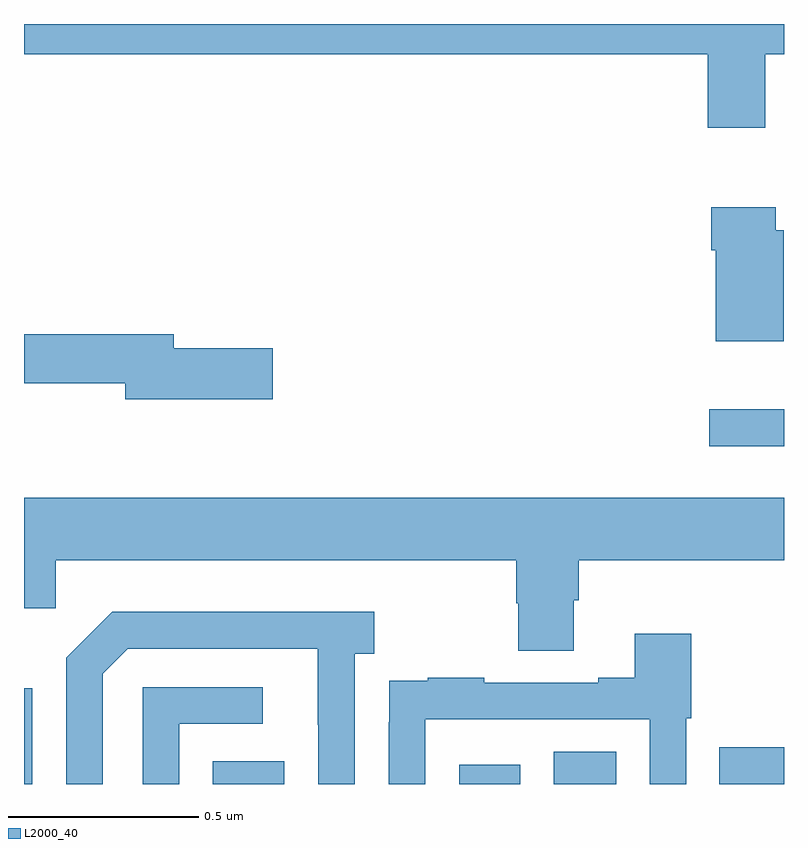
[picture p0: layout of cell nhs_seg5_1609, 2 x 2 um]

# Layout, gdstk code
import gdstk
lib = gdstk.Library(unit=1e-6, precision=1e-09)
def R(c, l, rs):  # rectangles x0, y0, x1, y1
    for r in rs: c.add(gdstk.rectangle(r[:2], r[2:], *l))
def P(c, l, *ps):  # polygons
    for p in ps: c.add(gdstk.Polygon(p, *l))
L2000_40 = (2000, 40)

nhs_seg5_1609 = lib.new_cell('nhs_seg5_1609')
R(nhs_seg5_1609, L2000_40, [(132,894.799,132.022,895.051), (132.497,894.799,132.685,894.859), (133.145,894.799,133.306,894.85), (133.394,894.799,133.558,894.884), (133.83,894.799,134,894.896), (133.803,895.688,134,895.785)])
P(nhs_seg5_1609, L2000_40, [(133.951,896.72),(134,896.72),(134,896.799),(132,896.799),(132,896.72),(133.799,896.72),(133.799,896.526),(133.951,896.526)],
  [(133.999,896.256),(133.978,896.256),(133.978,896.317),(133.808,896.317),(133.808,896.204),(133.82,896.204),(133.82,895.964),(133.999,895.964)],
  [(132.655,895.946),(132.394,895.946),(132.394,895.982),(132,895.982),(132,895.854),(132.266,895.854),(132.266,895.811),(132.655,895.811)],
  [(132,895.262),(132.084,895.262),(132.084,895.388),(133.295,895.388),(133.295,895.275),(133.3,895.275),(133.3,895.15),(133.447,895.15),(133.447,895.282),(133.46,895.282),(133.46,895.388),(134,895.388),(134,895.552),(132,895.552)],
  [(132.207,895.089),(132.273,895.155),(132.773,895.155),(132.773,894.955),(132.774,894.955),(132.774,894.799),(132.87,894.799),(132.87,895.142),(132.922,895.142),(132.922,895.252),(132.232,895.252),(132.111,895.131),(132.111,894.799),(132.207,894.799)],
  [(133.056,894.969),(133.647,894.969),(133.647,894.799),(133.743,894.799),(133.743,894.972),(133.756,894.972),(133.756,895.195),(133.607,895.195),(133.607,895.078),(133.511,895.078),(133.511,895.065),(133.211,895.065),(133.211,895.078),(133.063,895.078),(133.063,895.071),(132.961,895.071),(132.961,894.962),(132.96,894.962),(132.96,894.799),(133.056,894.799)],
  [(132.408,894.957),(132.628,894.957),(132.628,895.053),(132.312,895.053),(132.312,894.799),(132.408,894.799)])

lib.write_gds('nhs_seg5_1609.gds')
